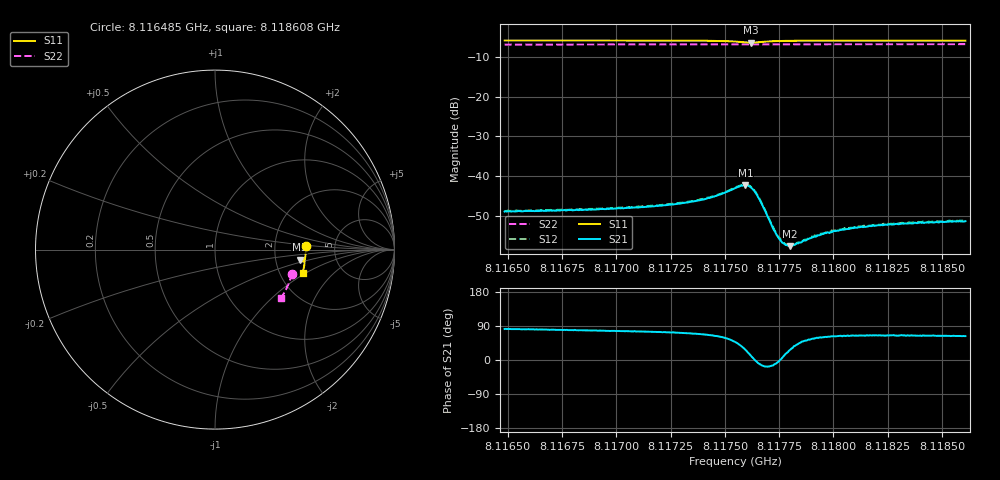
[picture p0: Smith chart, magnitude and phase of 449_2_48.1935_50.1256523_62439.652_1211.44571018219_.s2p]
#  HZ  S  RI  R  50.00
! Rohde & Schwarz Vector Network Analyzer
! Rohde-Schwarz,ZNB20-2Port,1311601062101988,3.16
! Created: UTC 3/20/2024, 11:56:10 AM
! freq[Hz]  re:S11  im:S11  re:S21  im:S21  re:S12  im:S12  re:S22  im:S22
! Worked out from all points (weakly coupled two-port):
!   401 points, 8.116485 GHz to 8.118608 GHz, reference 50 ohm
!   highest |S21| = -42.26 dB at 8.117594 GHz (marker M1); lowest = -57.6 dB at 8.117801 GHz (marker M2)
!   lowest |S11| = -6.4 dB at 8.117621 GHz (marker M3), VSWR 2.82, Z = 138 - j19.8 ohm
!   |S11| at or under -10 dB: nowhere
!   |S22| runs from -6.9 to -6.8 dB; largest |S21 - S12| = 0.00023
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8.116485e9  0.5066 0.0227  0.000516 0.00355  0.000525 0.0036  0.4298 -0.134
8.1168406e9  0.5066 -0.00443  0.000747 0.00368  0.000814 0.00377  0.4226 -0.1577
8.1171961e9  0.5047 -0.0329  0.00117 0.00409  0.00124 0.00414  0.414 -0.1811
8.1173129e9  0.5029 -0.043  0.0015 0.00438  0.00156 0.00445  0.411 -0.1887
8.1173978e9  0.5008 -0.0512  0.00191 0.00471  0.00201 0.00479  0.4087 -0.1941
8.1174721e9  0.4971 -0.0591  0.00274 0.00513  0.00285 0.00521  0.4064 -0.199
8.1175464e9  0.4874 -0.0665  0.00474 0.00523  0.0049 0.00527  0.4039 -0.2039
8.1175941e9  0.476 -0.0634  0.00687 0.00351  0.00703 0.00355  0.402 -0.2064
8.1176207e9  0.4733 -0.0556  0.00707 0.0013  0.00722 0.0013  0.4013 -0.2074
8.1176366e9  0.4753 -0.0506  0.00645 5.76e-05  0.0066 3.11e-06  0.4009 -0.2084
8.1176525e9  0.4791 -0.0473  0.00543 -0.00075  0.0056 -0.000777  0.4007 -0.209
8.1177268e9  0.4943 -0.0519  0.00204 -0.00042  0.0021 -0.000445  0.3993 -0.2142
8.117748e9  0.4962 -0.0548  0.00166 -0.000108  0.0017 -6.5e-05  0.3988 -0.2154
8.1177746e9  0.4976 -0.0582  0.00137 0.000319  0.00139 0.0003  0.398 -0.2173
8.1178011e9  0.4984 -0.0615  0.00117 0.000605  0.00121 0.000594  0.3972 -0.2191
8.117817e9  0.4987 -0.0634  0.0011 0.000802  0.00111 0.000798  0.3966 -0.22
8.1179019e9  0.4991 -0.0724  0.000947 0.00141  0.001 0.00144  0.3941 -0.2254
8.1179656e9  0.4987 -0.0783  0.00093 0.00168  0.000966 0.00172  0.3919 -0.2294
8.1180293e9  0.4979 -0.0838  0.000935 0.00187  0.000979 0.0019  0.3895 -0.2334
8.118146e9  0.4966 -0.0934  0.00101 0.00207  0.00102 0.00213  0.3858 -0.2405
8.1182575e9  0.4948 -0.1021  0.00105 0.00224  0.00107 0.00226  0.3818 -0.2473
8.1186077e9  0.4885 -0.1283  0.00123 0.00242  0.00125 0.00246  0.3688 -0.2682
